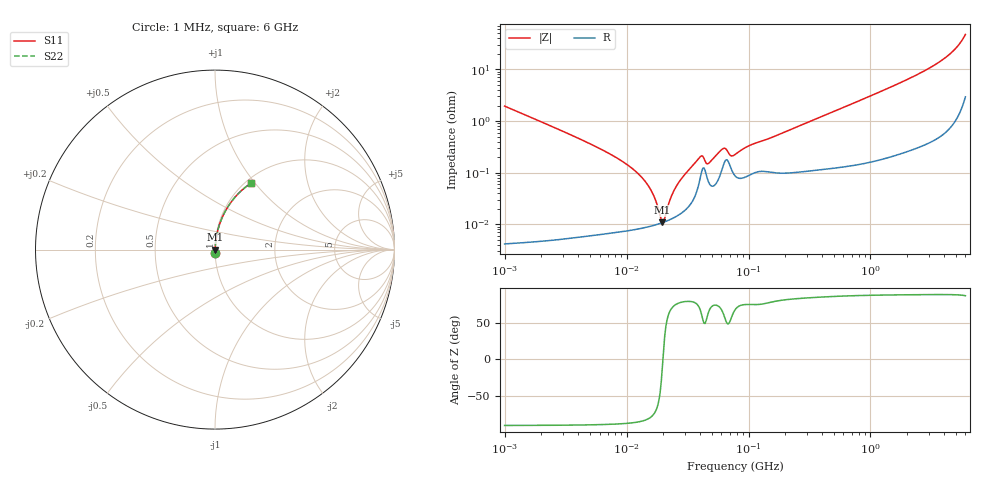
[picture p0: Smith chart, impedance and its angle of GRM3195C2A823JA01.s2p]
!Murata Part Number: GRM3195C2A823JA01
!These Parameters are Measured in Series Mode Connection
!Data Generated on Mar 30, 2021
!  o--ll--o
!Port1  Port2
!  o------o
!Operation Temp=25[degC], DC Bias Voltage=0[V]
!Freq. Start=1000[kHz] Stop=6[GHz] 401[Steps]
# Hz S RI R 50
!Freq.(Hz) S11(Real) S11(Imag) S21(Real) S21(Imag) S12(Real) S12(Imag) S22(Real) S22(Imag)
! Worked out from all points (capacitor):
!   401 points, 1 MHz to 6 GHz, reference 50 ohm
!   read as one part in series: C = 81.5 nF near 1.044 MHz
!   lowest |Z| = 11 mohm at 19.68 MHz (marker M1)
!   series resonance near 19.86 MHz, so ESL is about 790 pH
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1000000  0.000421 -0.0195  0.9996 0.0195  0.9996 0.0195  0.000421 -0.0195
4293785  7.61e-05 -0.00433  0.9999 0.00433  0.9999 0.00433  7.61e-05 -0.00433
8245209  7.37e-05 -0.00196  0.9999 0.00196  0.9999 0.00196  7.37e-05 -0.00196
1.219603e7  8.17e-05 -0.001  0.9999 0.001  0.9999 0.001  8.17e-05 -0.001
1.583299e7  9.27e-05 -0.000454  0.9999 0.000454  0.9999 0.000454  9.27e-05 -0.000454
1.843659e7  0.000103 -0.000149  0.9999 0.000149  0.9999 0.000149  0.000103 -0.000149
1.967962e7  0.000108 -1.79e-05  0.9999 1.79e-05  0.9999 1.79e-05  0.000108 -1.79e-05
2.055453e7  0.000112 6.98e-05  0.9999 -6.98e-05  0.9999 -6.98e-05  0.000112 6.98e-05
2.291577e7  0.000125 0.000293  0.9999 -0.000293  0.9999 -0.000293  0.000125 0.000293
2.554826e7  0.000143 0.000526  0.9999 -0.000526  0.9999 -0.000526  0.000143 0.000526
3.947016e7  0.000662 0.00184  0.9993 -0.00184  0.9993 -0.00184  0.000662 0.00184
4.12249e7  0.00104 0.00186  0.999 -0.00186  0.999 -0.00186  0.00104 0.00186
4.697123e7  0.000667 0.00136  0.9993 -0.00136  0.9993 -0.00136  0.000667 0.00136
6.23192e7  0.00142 0.0026  0.9986 -0.0026  0.9986 -0.0026  0.00142 0.0026
7.256705e7  0.00115 0.00177  0.9988 -0.00177  0.9988 -0.00177  0.00115 0.00177
7.745967e7  0.000877 0.00207  0.9991 -0.00207  0.9991 -0.00207  0.000877 0.00207
1.027698e8  0.00092 0.00327  0.9991 -0.00327  0.9991 -0.00327  0.00092 0.00327
3.325952e8  0.0012 0.0102  0.9988 -0.0102  0.9988 -0.0102  0.0012 0.0102
1.428092e9  0.00393 0.0441  0.9961 -0.0441  0.9961 -0.0441  0.00393 0.0441
3.638376e9  0.0231 0.1338  0.9769 -0.1338  0.9769 -0.1338  0.0231 0.1338
4.93336e9  0.0659 0.229  0.9341 -0.229  0.9341 -0.229  0.0659 0.229
6e9  0.1987 0.3691  0.8013 -0.3691  0.8013 -0.3691  0.1987 0.3691
